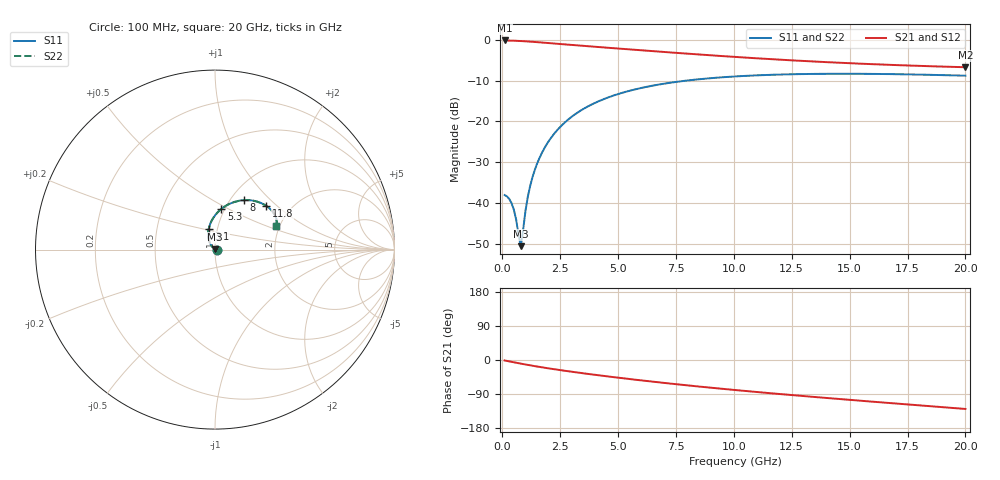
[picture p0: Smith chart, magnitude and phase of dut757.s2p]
! Touchstone file exported from HFSS 2024.1.0
!  File:  C:/UserFiles/LocalFiles/RDL_TSV_Batchsim/temp_RDL_TSV_757_1779899595.aedt
!  Generated:  12:46:08 AM May 28, 2026
!  Design:  RDL_TSV
!  Project:  temp_RDL_TSV_757_1779899595
!  Setup:  Setup1
!  Solution:  Sweep
! Variables:
!  dtsv = 12.6um
!  hbump = 3um
!  htsv = 57.77um
!  ldown = 205.14um
!  lrdl = 256.26um
!  p = 40
!  p1 = 48.22um
!  rhole = 10um
!  subl = 1640.46um
!  t = 450um
!  tdown = 2.83um
!  trdl = 4.32um
!  viad = 10um
!  wdown = 12.73um
!  wrdl = 13.32um
!  xbump = 18um
# GHz S MA R 50.000000
! Terminal data exported
! Port[1] = TM1_1_T1
! Port[2] = TM1_4_T1
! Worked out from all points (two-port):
!   200 points, 100 MHz to 20 GHz, reference 50 ohm
!   highest |S21| = -0.11 dB at 100 MHz (marker M1); lowest = -6.7 dB at 20 GHz (marker M2)
!   |S21| within 3 dB of the highest: start of sweep to 7.396 GHz
!   lowest |S11| = -50.6 dB at 800 MHz (marker M3), VSWR 1.01, Z = 50.1 + j0.274 ohm
!   |S11| at or under -10 dB: start of sweep to 7.914 GHz
!   |S22| runs from -50.6 to -8.3 dB; largest |S21 - S12| = 1.2e-14
!   S11 on the Smith chart (normalised r, x): 100 MHz: 1.03, +0.00; 3.1 GHz: 0.91, +0.21; 5.3 GHz: 0.97, +0.46; 8 GHz: 1.15, +0.70; 11.8 GHz: 1.50, +0.85; 20 GHz: 1.91, +0.58
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0.1  0.01247 0.0  0.987 -1.2  0.987 -1.2  0.01247 0.0
! Gamma 0 0 0 0
! Port Impedance 50 0 50 0
0.3  0.01118 -0.1  0.9846 -3.7  0.9846 -3.7  0.01118 -0.1
0.5  0.008232 1.9  0.9803 -6.1  0.9803 -6.1  0.008233 1.9
0.6  0.006204 7.0  0.9775 -7.3  0.9775 -7.3  0.006205 7.0
0.7  0.004066 22.6  0.9745 -8.5  0.9745 -8.5  0.004066 22.6
0.8  0.002938 68.5  0.9711 -9.6  0.9711 -9.6  0.002936 68.5
1  0.007931 127.7  0.9636 -11.9  0.9636 -11.9  0.007927 127.7
1.1  0.01178 132.6  0.9595 -13.0  0.9595 -13.0  0.01178 132.6
1.3  0.02049 134.1  0.9508 -15.1  0.9508 -15.1  0.02049 134.1
1.5  0.03017 132.3  0.9415 -17.2  0.9415 -17.2  0.03016 132.3
1.8  0.04592 127.8  0.9271 -20.2  0.9271 -20.2  0.04591 127.8
2.2  0.06832 121.1  0.9075 -24.0  0.9075 -24.0  0.06831 121.1
3.1  0.12 106.9  0.8651 -31.8  0.8651 -31.8  0.12 107.0
3.5  0.1422 101.4  0.8473 -35.1  0.8473 -35.1  0.1422 101.4
5.3  0.2298 81.0  0.7739 -48.8  0.7739 -48.8  0.2298 81.0
6.8  0.285 68.2  0.719 -59.2  0.719 -59.2  0.285 68.2
8  0.3183 59.8  0.6791 -67.0  0.6791 -67.0  0.3183 59.9
10.1  0.3575 48.1  0.6182 -79.5  0.6182 -79.5  0.3575 48.1
11.8  0.3751 40.6  0.5773 -88.9  0.5773 -88.9  0.3752 40.6
13.4  0.3832 34.8  0.5452 -97.2  0.5452 -97.2  0.3832 34.9
16.7  0.3814 26.2  0.4956 -113.4  0.4956 -113.4  0.3814 26.2
20  0.3646 21.3  0.463 -129.2  0.463 -129.2  0.3646 21.3
